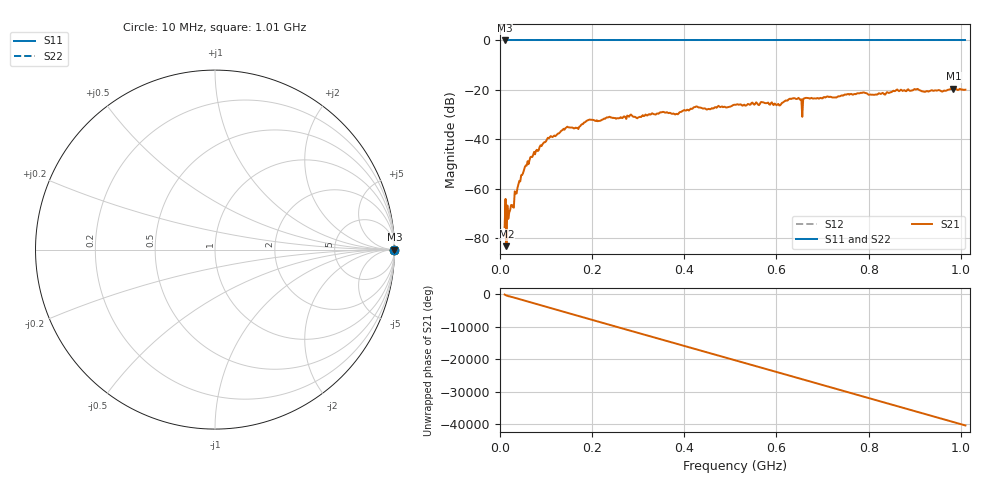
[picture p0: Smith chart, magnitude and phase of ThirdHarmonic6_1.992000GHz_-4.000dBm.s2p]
! 8/16/2025 11:56:20 PM
! C:\ANRITSUVNA\TEMP\TEMP.S2P
! CHANNEL.1
! TR.MEASUREMENT
! RAW.DATA
! RF.CORRECTION.OFF
! AVERAGING.OFF
! IF.BANDWIDTH: 5KHZ
! SWEEPTYPE:  FREQ.SWEEP(Linear)
! Reference Plane Port Info
! PORT:  PORT1  PORT2
! DISTANCE:  0  m  0  m
! TIME:  0  s  0  s
! PHASE.OFFSET:  0  deg.  0  deg.
! LOSS:  0  dB  0  dB
! REF.LOSS:  0  dB  0  dB
! REF.FREQ:  0  Hz  0  Hz
! Power Info
! POWER:  -20  dBm  -20  dBm
! EFF.POWER:  -20  dBm  -20  dBm
! SOURCE.ATTEN:  0  dB  0  dB
! TEST.ATTEN:  0  dB  0  dB
# GHZ S RI R 50.0
! FREQ.GHZ  S11RE  S11IM  S21RE  S21IM  S12RE  S12IM  S22RE  S22IM
!; PortSelection: Port_12
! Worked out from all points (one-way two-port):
!   501 points, 10 MHz to 1.01 GHz, reference 50 ohm
!   highest |S21| = -19.59 dB at 984 MHz (marker M1); lowest = -83.3 dB at 14 MHz (marker M2)
!   lowest |S11| = 0.0 dB at 10 MHz (marker M3)
!   |S11| at or under -10 dB: nowhere
!   |S22| runs from 0.0 to 0.0 dB; largest |S21 - S12| = 1.1
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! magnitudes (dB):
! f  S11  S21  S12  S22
! 10 MHz  0.0  -75.6  0.0  0.0
! 14 MHz  0.0  -83.3  0.0  0.0
! 18 MHz  0.0  -72.3  0.0  0.0
! 20 MHz  0.0  -69.8  0.0  0.0
! 26 MHz  0.0  -66.7  0.0  0.0
! 50 MHz  0.0  -53.8  0.0  0.0
! 70 MHz  0.0  -47.2  0.0  0.0
! 106 MHz  0.0  -39.6  0.0  0.0
! 146 MHz  0.0  -34.9  0.0  0.0
! 178 MHz  0.0  -33.9  0.0  0.0
! 194 MHz  0.0  -32.1  0.0  0.0
! 344 MHz  0.0  -29.7  0.0  0.0
! 510 MHz  0.0  -26.0  0.0  0.0
! 604 MHz  0.0  -25.7  0.0  0.0
! 632 MHz  0.0  -23.7  0.0  0.0
! 650 MHz  0.0  -23.7  0.0  0.0
! 654 MHz  0.0  -23.9  0.0  0.0
! 662 MHz  0.0  -23.4  0.0  0.0
! 678 MHz  0.0  -23.5  0.0  0.0
! 844 MHz  0.0  -21.3  0.0  0.0
! 984 MHz  0.0  -19.6  0.0  0.0
! 1.01 GHz  0.0  -19.9  0.0  0.0
